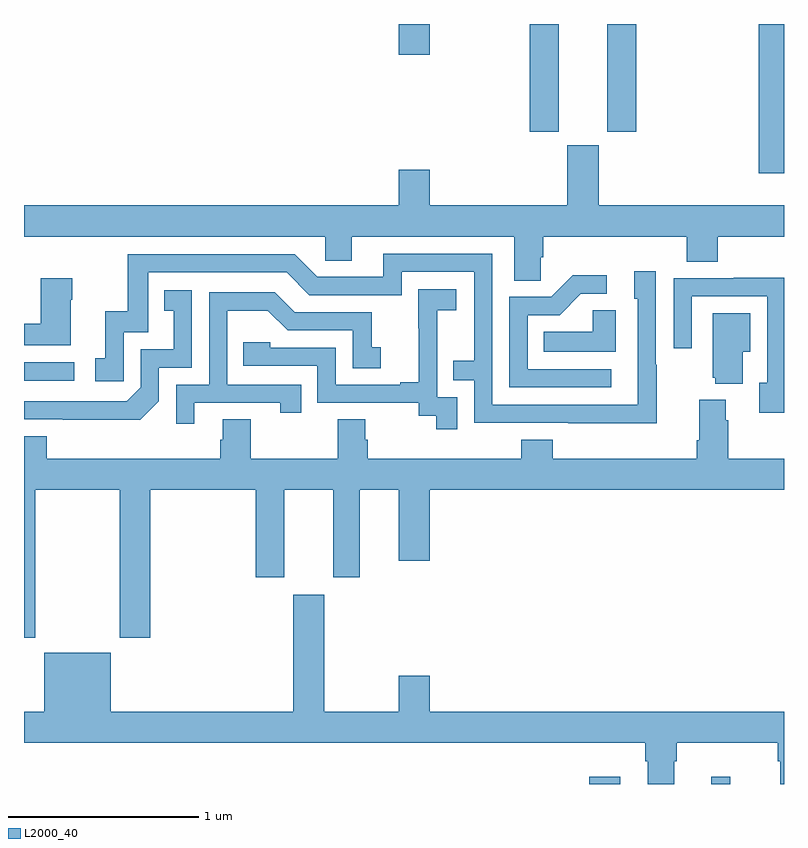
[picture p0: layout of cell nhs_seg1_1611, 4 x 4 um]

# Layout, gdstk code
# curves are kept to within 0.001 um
import gdstk
lib = gdstk.Library(unit=1e-6, precision=1e-09)
def R(c, l, rs):  # rectangles x0, y0, x1, y1
    for r in rs: c.add(gdstk.rectangle(r[:2], r[2:], *l))
def P(c, l, *ps):  # polygons
    for p in ps: c.add(gdstk.Polygon(p, *l))
L2000_40 = (2000, 40)

nhs_seg1_1611 = lib.new_cell('nhs_seg1_1611')
R(nhs_seg1_1611, L2000_40, [(201.974,534.199,202.138,534.238), (202.616,534.199,202.718,534.238), (199,536.322,199.264,536.418), (202.868,537.414,203,538.199), (201.662,537.633,201.814,538.199), (202.07,537.633,202.223,538.199), (200.972,538.038,201.136,538.199)])
P(nhs_seg1_1611, L2000_40, [(202.487,536.947),(202.652,536.947),(202.652,537.08),(203,537.08),(203,537.244),(202.024,537.244),(202.024,537.561),(201.86,537.561),(201.86,537.244),(201.136,537.244),(201.136,537.433),(200.972,537.433),(200.972,537.244),(199,537.244),(199,537.08),(200.586,537.08),(200.586,536.953),(200.725,536.953),(200.725,537.08),(201.581,537.08),(201.581,536.848),(201.72,536.848),(201.72,536.971),(201.734,536.971),(201.734,537.08),(202.487,537.08)],
  [(202.329,536.405),(202.326,536.405),(202.326,536.899),(202.211,536.899),(202.211,536.754),(202.23,536.754),(202.23,536.196),(201.465,536.196),(201.465,536.991),(200.891,536.991),(200.891,536.868),(200.544,536.868),(200.424,536.988),(199.545,536.988),(199.545,536.686),(199.427,536.686),(199.427,536.439),(199.374,536.439),(199.374,536.319),(199.524,536.319),(199.524,536.577),(199.653,536.577),(199.653,536.892),(200.382,536.892),(200.502,536.772),(200.988,536.772),(200.988,536.895),(201.369,536.895),(201.369,536.426),(201.259,536.426),(201.259,536.325),(201.369,536.325),(201.369,536.1),(202.329,536.099)],
  [(202.09,536.382),(201.651,536.382),(201.651,536.667),(201.82,536.667),(201.931,536.778),(202.066,536.778),(202.066,536.876),(201.887,536.876),(201.774,536.763),(201.555,536.763),(201.555,536.286),(202.09,536.286)],
  [(203,536.864),(202.735,536.864),(202.735,536.862),(202.419,536.862),(202.419,536.493),(202.515,536.493),(202.515,536.766),(202.911,536.766),(202.911,536.31),(202.871,536.31),(202.871,536.154),(203,536.154)],
  [(199.246,536.747),(199.254,536.747),(199.254,536.86),(199.088,536.86),(199.088,536.621),(199,536.621),(199,536.507),(199.246,536.507)],
  [(201.279,536.235),(201.174,536.235),(201.174,536.465),(201.176,536.465),(201.176,536.693),(201.274,536.693),(201.274,536.803),(201.076,536.803),(201.076,536.597),(201.077,536.597),(201.077,536.314),(200.981,536.314),(200.981,536.301),(200.64,536.301),(200.64,536.496),(200.295,536.496),(200.295,536.523),(200.155,536.523),(200.155,536.4),(200.544,536.4),(200.544,536.205),(201.078,536.205),(201.078,536.137),(201.171,536.137),(201.171,536.067),(201.279,536.067)],
  [(199.71,536.214),(199.71,536.391),(199.884,536.391),(199.884,536.797),(199.738,536.797),(199.738,536.691),(199.787,536.691),(199.787,536.487),(199.614,536.487),(199.614,536.286),(199.542,536.214),(199,536.214),(199,536.118),(199.612,536.117)],
  [(199.897,536.205),(200.348,536.205),(200.348,536.154),(200.459,536.154),(200.459,536.301),(200.07,536.301),(200.07,536.69),(200.284,536.69),(200.388,536.586),(200.73,536.586),(200.73,536.388),(200.878,536.388),(200.878,536.497),(200.829,536.497),(200.829,536.682),(200.425,536.682),(200.32,536.787),(199.974,536.787),(199.974,536.301),(199.8,536.301),(199.8,536.094),(199.897,536.094)],
  [(202.114,536.693),(201.993,536.693),(201.993,536.578),(201.736,536.578),(201.736,536.474),(202.114,536.474)],
  [(202.783,536.474),(202.822,536.474),(202.822,536.677),(202.625,536.677),(202.625,536.337),(202.637,536.337),(202.637,536.306),(202.783,536.306)],
  [(199.059,535.748),(199.504,535.748),(199.504,534.969),(199.664,534.969),(199.664,535.748),(200.219,535.748),(200.219,535.287),(200.371,535.287),(200.371,535.748),(200.627,535.748),(200.627,535.287),(200.767,535.287),(200.767,535.748),(200.972,535.748),(200.972,535.374),(201.136,535.374),(201.136,535.748),(203,535.748),(203,535.912),(202.706,535.912),(202.706,536.114),(202.693,536.114),(202.693,536.221),(202.553,536.221),(202.553,536.008),(202.541,536.008),(202.541,535.912),(201.782,535.912),(201.782,536.011),(201.617,536.011),(201.617,535.912),(200.81,535.912),(200.81,536.01),(200.797,536.01),(200.797,536.12),(200.65,536.12),(200.65,535.912),(200.193,535.912),(200.193,536.12),(200.045,536.12),(200.045,536.01),(200.033,536.01),(200.033,535.912),(199.121,535.912),(199.121,536.029),(199,536.029),(199,534.969),(199.059,534.969)],
  [(202.423,534.32),(202.436,534.32),(202.436,534.416),(202.967,534.416),(202.967,534.32),(202.979,534.32),(202.979,534.199),(203,534.199),(203,534.58),(201.136,534.58),(201.136,534.769),(200.972,534.769),(200.972,534.58),(200.581,534.58),(200.581,535.195),(200.417,535.195),(200.417,534.58),(199.456,534.58),(199.456,534.889),(199.106,534.889),(199.106,534.58),(199,534.58),(199,534.416),(202.271,534.416),(202.271,534.32),(202.283,534.32),(202.283,534.199),(202.423,534.199)])

lib.write_gds('nhs_seg1_1611.gds')
